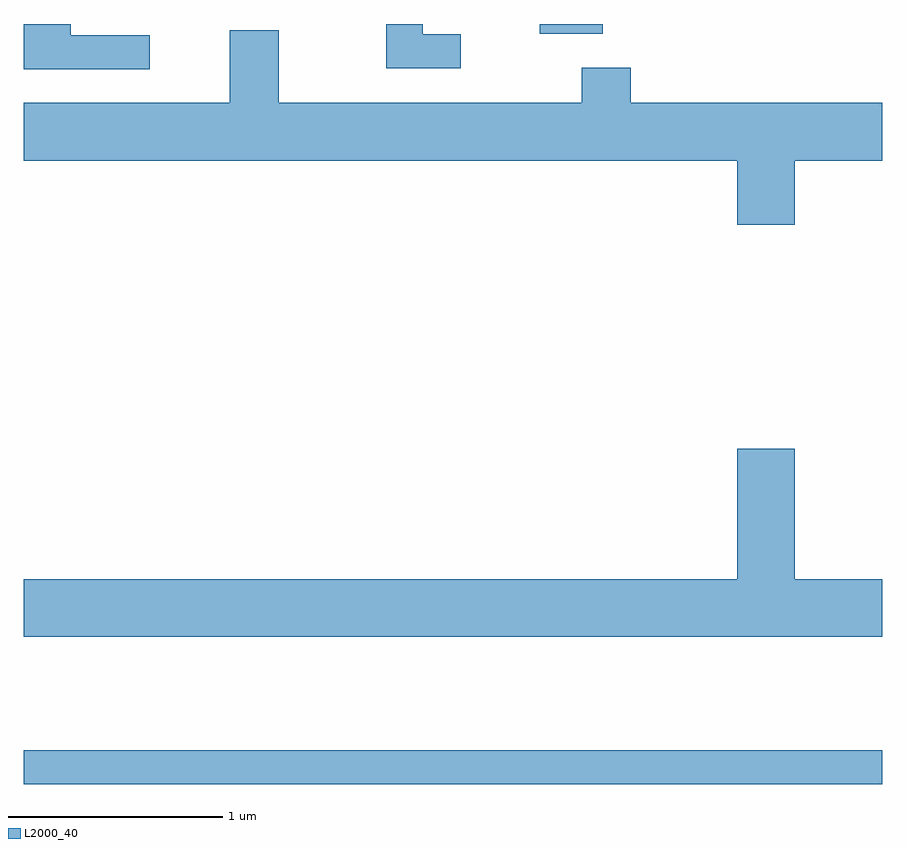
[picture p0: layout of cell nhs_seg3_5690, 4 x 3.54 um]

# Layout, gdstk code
import gdstk
lib = gdstk.Library(unit=1e-6, precision=1e-09)
def R(c, l, rs):  # rectangles x0, y0, x1, y1
    for r in rs: c.add(gdstk.rectangle(r[:2], r[2:], *l))
def P(c, l, *ps):  # polygons
    for p in ps: c.add(gdstk.Polygon(p, *l))
L2000_40 = (2000, 40)

nhs_seg3_5690 = lib.new_cell('nhs_seg3_5690')
R(nhs_seg3_5690, L2000_40, [(351.611,1216.351,355.611,1216.509), (354.016,1219.846,354.309,1219.892)])
P(nhs_seg3_5690, L2000_40, [(352.198,1219.839),(351.829,1219.839),(351.829,1219.892),(351.611,1219.892),(351.611,1219.681),(352.198,1219.681)],
  [(353.648,1219.844),(353.469,1219.844),(353.469,1219.892),(353.301,1219.892),(353.301,1219.686),(353.648,1219.686)],
  [(355.204,1219.256),(355.611,1219.256),(355.611,1219.524),(354.439,1219.524),(354.439,1219.689),(354.211,1219.689),(354.211,1219.524),(352.799,1219.524),(352.799,1219.864),(352.571,1219.864),(352.571,1219.524),(351.611,1219.524),(351.611,1219.256),(354.936,1219.256),(354.936,1218.956),(355.204,1218.956)],
  [(355.611,1217.304),(355.204,1217.304),(355.204,1217.914),(354.936,1217.914),(354.936,1217.304),(351.611,1217.304),(351.611,1217.036),(355.611,1217.036)])

lib.write_gds('nhs_seg3_5690.gds')
